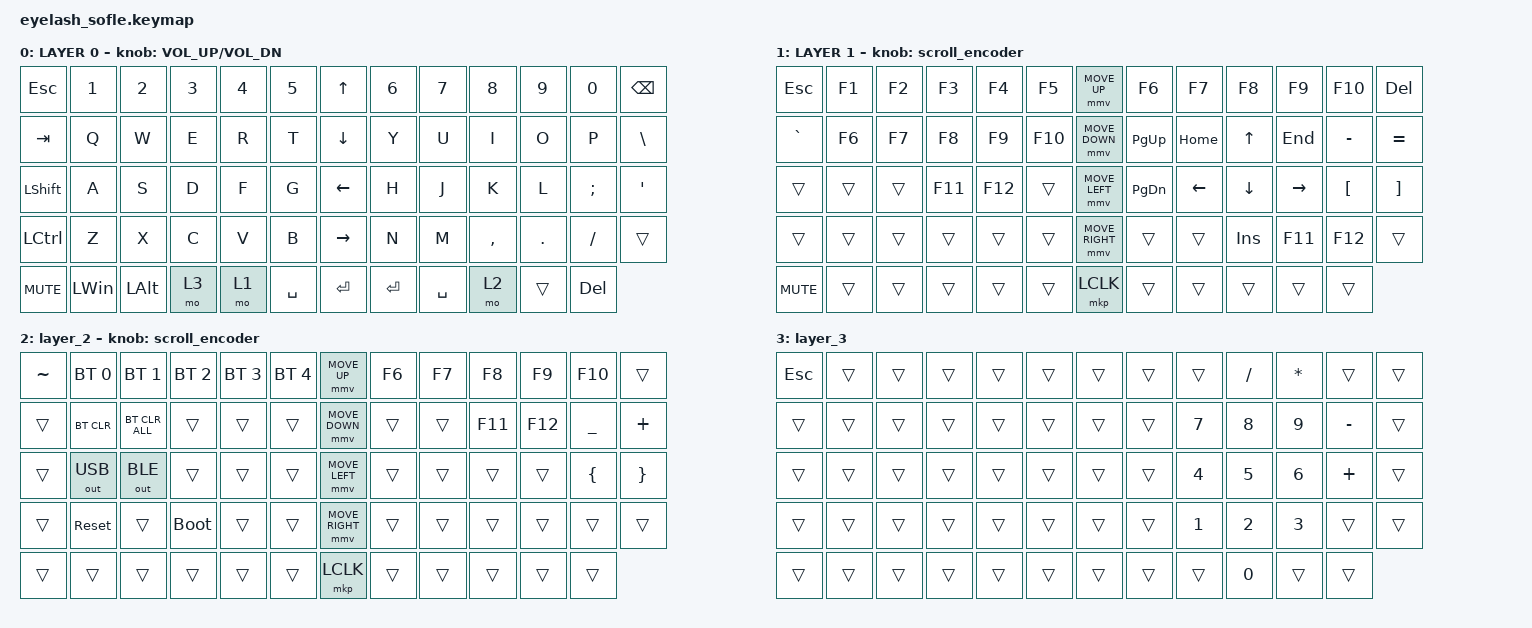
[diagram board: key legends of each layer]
#define ZMK_POINTING_DEFAULT_MOVE_VAL 1200  // 600
#define ZMK_POINTING_DEFAULT_SCRL_VAL 25   // 10

#include <input/processors.dtsi>
#include <zephyr/dt-bindings/input/input-event-codes.h>
#include <behaviors.dtsi>
#include <dt-bindings/zmk/bt.h>
#include <dt-bindings/zmk/keys.h>
#include <dt-bindings/zmk/outputs.h>
#include <dt-bindings/zmk/pointing.h>

&mmv_input_listener { input-processors = <&zip_xy_scaler 2 1>; };

&msc_input_listener { input-processors = <&zip_scroll_scaler 2 1>; };

&msc {
    acceleration-exponent = <1>;      // 0
    time-to-max-speed-ms = <100>;       // 300
    delay-ms = <0>;                   // 0
};

&mmv {
    time-to-max-speed-ms = <500>;
    acceleration-exponent = <1>;
    trigger-period-ms = <16>;
};

/ {
    scroll_encoder: scroll_encoder {
        compatible = "zmk,behavior-sensor-rotate";
        #sensor-binding-cells = <0>;
        bindings = <&msc SCRL_DOWN>, <&msc SCRL_UP>;

        tap-ms = <100>;
    };

    behaviors {
    };

    keymap {
        compatible = "zmk,keymap";

        layer0 {
            bindings = <
&kp ESC         &kp N1        &kp N2        &kp N3  &kp N4  &kp N5       &kp UP_ARROW     &kp N6     &kp N7     &kp N8     &kp N9   &kp N0      &kp BACKSPACE
&kp TAB         &kp Q         &kp W         &kp E   &kp R   &kp T        &kp DOWN_ARROW   &kp Y      &kp U      &kp I      &kp O    &kp P       &kp BSLH
&kp LEFT_SHIFT  &kp A         &kp S         &kp D   &kp F   &kp G        &kp LEFT_ARROW   &kp H      &kp J      &kp K      &kp L    &kp SEMI    &kp APOS
&kp LCTRL       &kp Z         &kp X         &kp C   &kp V   &kp B        &kp RIGHT_ARROW  &kp N      &kp M      &kp COMMA  &kp DOT  &kp FSLH    &trans
&kp C_MUTE      &kp LEFT_WIN  &kp LEFT_ALT  &mo 3   &mo 1   &kp SPACE    &kp ENTER        &kp ENTER  &kp SPACE  &mo 2      &trans   &kp DELETE
            >;

            sensor-bindings = <&inc_dec_kp C_VOLUME_UP C_VOL_DN>;
            display-name = "LAYER 0";
        };

        layer_1 {
            bindings = <
&kp ESC     &kp F1  &kp F2  &kp F3   &kp F4   &kp F5     &mmv MOVE_UP     &kp F6     &kp F7    &kp F8      &kp F9     &kp F10           &kp DELETE
&kp GRAVE   &kp F6  &kp F7  &kp F8   &kp F9   &kp F10    &mmv MOVE_DOWN   &kp PG_UP  &kp HOME  &kp UP      &kp END    &kp MINUS         &kp EQUAL
&trans      &trans  &trans  &kp F11  &kp F12  &trans     &mmv MOVE_LEFT   &kp PG_DN  &kp LEFT  &kp DOWN    &kp RIGHT  &kp LEFT_BRACKET  &kp RIGHT_BRACKET
&trans      &trans  &trans  &trans   &trans   &trans     &mmv MOVE_RIGHT  &trans     &trans    &kp INSERT  &kp F11    &kp F12           &trans
&kp C_MUTE  &trans  &trans  &trans   &trans   &trans     &mkp LCLK        &trans     &trans    &trans      &trans     &trans
            >;

            display-name = "LAYER 1";
            sensor-bindings = <&scroll_encoder>;
        };

        layer_2 {
            bindings = <
&kp TILDE  &bt BT_SEL 0  &bt BT_SEL 1    &bt BT_SEL 2  &bt BT_SEL 3  &bt BT_SEL 4    &mmv MOVE_UP     &kp F6  &kp F7  &kp F8   &kp F9   &kp F10    &trans
&trans     &bt BT_CLR    &bt BT_CLR_ALL  &trans        &trans        &trans          &mmv MOVE_DOWN   &trans  &trans  &kp F11  &kp F12  &kp UNDER  &kp PLUS
&trans     &out OUT_USB  &out OUT_BLE    &trans        &trans        &trans          &mmv MOVE_LEFT   &trans  &trans  &trans   &trans   &kp LBRC   &kp RBRC
&trans     &sys_reset    &trans          &bootloader   &trans        &trans          &mmv MOVE_RIGHT  &trans  &trans  &trans   &trans   &trans     &trans
&trans     &trans        &trans          &trans        &trans        &trans          &mkp LCLK        &trans  &trans  &trans   &trans   &trans
            >;

            sensor-bindings = <&scroll_encoder>;
        };

        layer_3 {
            bindings = <
&kp ESC  &trans  &trans  &trans  &trans  &trans    &trans  &trans  &trans  &kp SLASH  &kp ASTERISK  &trans     &trans
&trans   &trans  &trans  &trans  &trans  &trans    &trans  &trans  &kp N7  &kp N8     &kp N9        &kp MINUS  &trans
&trans   &trans  &trans  &trans  &trans  &trans    &trans  &trans  &kp N4  &kp N5     &kp N6        &kp PLUS   &trans
&trans   &trans  &trans  &trans  &trans  &trans    &trans  &trans  &kp N1  &kp N2     &kp N3        &trans     &trans
&trans   &trans  &trans  &trans  &trans  &trans    &trans  &trans  &trans  &kp N0     &trans        &trans
            >;
        };
    };
};
